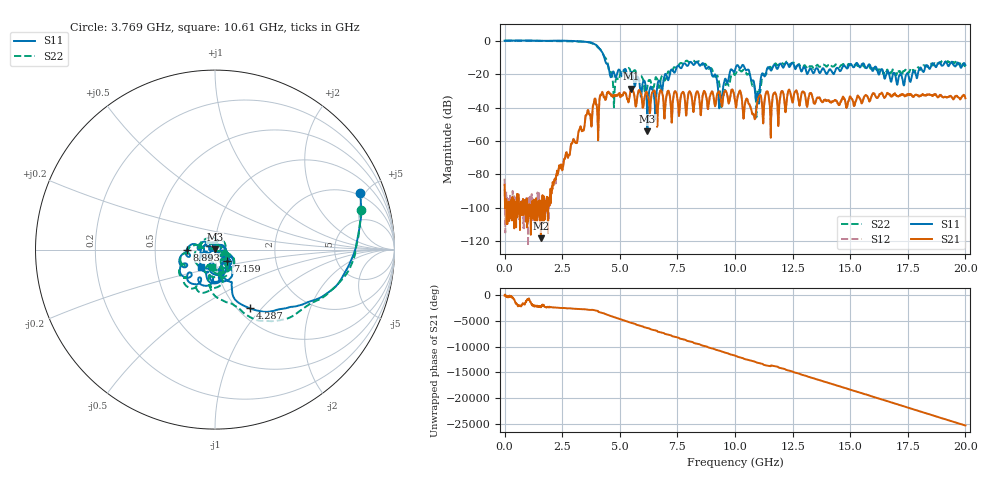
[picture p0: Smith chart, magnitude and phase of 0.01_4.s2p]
#  HZ  S  RI  R  50.00
! Rohde & Schwarz Vector Network Analyzer
! Rohde-Schwarz,ZNB20-2Port,1311601062102128,3.60
! Created: UTC 4/29/2024, 2:51:22 PM
! freq[Hz]  re:S11  im:S11  re:S21  im:S21  re:S12  im:S12  re:S22  im:S22
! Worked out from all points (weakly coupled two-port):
!   2007 points, 100 kHz to 20 GHz, reference 50 ohm
!   highest |S21| = -28.74 dB at 5.504 GHz (marker M1); lowest = -118.2 dB at 1.575 GHz (marker M2)
!   lowest |S11| = -54.1 dB at 6.191 GHz (marker M3), VSWR 1.00, Z = 50 + j0.195 ohm
!   |S11| at or under -10 dB: 4.328 GHz to end of sweep
!   |S22| runs from -45.8 to 0.1 dB; largest |S21 - S12| = 0.002
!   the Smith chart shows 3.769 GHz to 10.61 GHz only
!   S11 on the Smith chart (normalised r, x): 3.769 GHz: 1.79, +4.58; 4.287 GHz: 1.13, -0.86; 7.159 GHz: 1.14, -0.14; 8.893 GHz: 0.73, -0.00; 10.61 GHz: 0.84, -0.17
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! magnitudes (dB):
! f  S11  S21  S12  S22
! 100 kHz  0.0  -86.2  -82.5  0.1
! 1.575 GHz  -0.1  -118.2  -109.4  -0.2
! 2.233 GHz  0.0  -80.9  -82.0  -0.3
! 3.34 GHz  -0.6  -53.6  -53.3  -0.6
! 3.769 GHz  -1.2  -51.3  -51.5  -1.5
! 4.287 GHz  -8.4  -32.5  -32.6  -8.7
! 4.776 GHz  -20.4  -32.7  -32.7  -29.7
! 5.504 GHz  -18.8  -28.7  -28.7  -19.9
! 6.191 GHz  -54.1  -32.1  -32.2  -28.3
! 6.67 GHz  -24.5  -37.5  -37.5  -25.8
! 7.159 GHz  -20.8  -32.2  -32.1  -19.2
! 7.916 GHz  -15.1  -39.3  -39.3  -12.0
! 8.893 GHz  -16.0  -34.2  -34.2  -16.6
! 9.372 GHz  -35.1  -34.3  -34.4  -33.8
! 10 GHz  -17.6  -35.6  -35.6  -20.5
! 10.61 GHz  -18.0  -37.8  -37.7  -20.0
! 10.82 GHz  -24.6  -44.6  -44.5  -26.1
! 10.97 GHz  -31.6  -37.3  -37.2  -31.5
! 11.46 GHz  -15.9  -32.6  -32.7  -16.2
! 13.34 GHz  -18.0  -32.7  -32.7  -15.3
! 16.67 GHz  -19.1  -31.8  -31.8  -20.5
! 20 GHz  -14.6  -34.5  -34.5  -14.3
